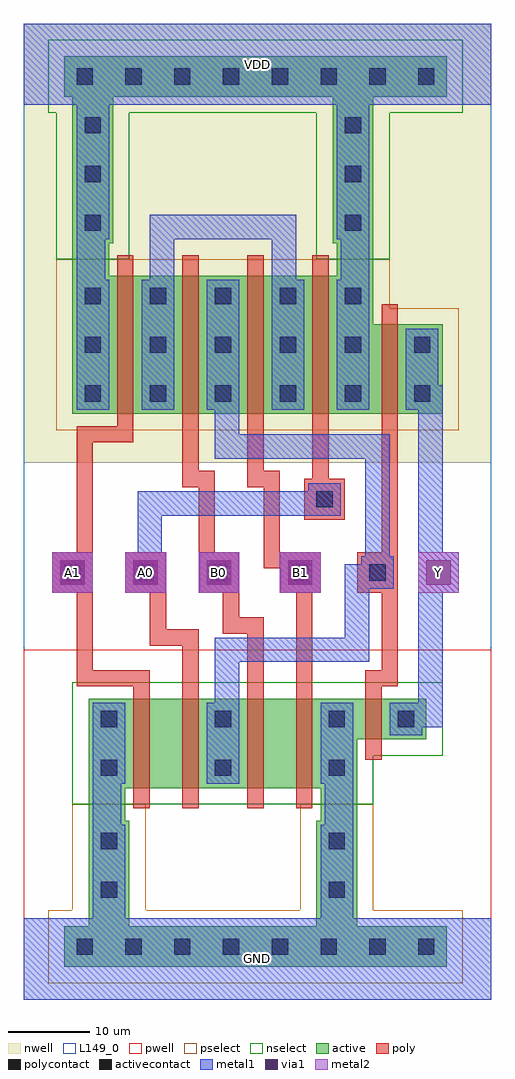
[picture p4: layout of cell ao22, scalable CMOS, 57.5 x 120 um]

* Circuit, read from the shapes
.subckt ao22 A0 A1 B0 B1 GND VDD Y
M1 n1 A1 GND GND nfet w=11u l=2u
M2 n2 A0 n1 GND nfet w=11u l=2u
M3 n3 B0 n2 GND nfet w=11u l=2u
M4 GND B1 n3 GND nfet w=11u l=2u
M5 Y n2 GND GND nfet w=5u l=2u
M6 n4 A1 VDD VDD pfet w=17u l=2u
M7 n2 B0 n4 VDD pfet w=17u l=2u
M8 n4 B1 n2 VDD pfet w=17u l=2u
M9 VDD A0 n4 VDD pfet w=17u l=2u
M10 Y n2 VDD VDD pfet w=11u l=2u
.ends

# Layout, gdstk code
import gdstk
lib = gdstk.Library(unit=1e-6, precision=1e-09)
def R(c, l, rs):  # rectangles x0, y0, x1, y1
    for r in rs: c.add(gdstk.rectangle(r[:2], r[2:], *l))
def A(c, l, x, y, w, h, nx, ny, dx, dy):  # array of equal rectangles
    R(c, l, [(x+i*dx, y+j*dy, x+i*dx+w, y+j*dy+h) for i in range(nx) for j in range(ny)])
def P(c, l, *ps):  # polygons
    for p in ps: c.add(gdstk.Polygon(p, *l))
pwell = (41, 0)
nwell = (42, 0)
active = (43, 0)
pselect = (44, 0)
nselect = (45, 0)
poly = (46, 0)
polycontact = (47, 0)
activecontact = (48, 0)
metal1 = (49, 0)
via1 = (50, 0)
metal2 = (51, 0)
L149_0 = (149, 0)

via = lib.new_cell('via')
R(via, metal1, [(-2.5,-2.5,2.5,2.5)])
R(via, via1, [(-1.5,-1.5,1.5,1.5)])
R(via, metal2, [(-2.5,-2.5,2.5,2.5)])

ao22 = lib.new_cell('ao22')
R(ao22, pwell, [(0,0,57.5,43)])
P(ao22, pwell, [(47,20),(47,26),(55.5,26),(55.5,43),(2,43),(2,20)])
R(ao22, nwell, [(0,66,57.5,120)])
P(ao22, nwell, [(57.5,66),(57.5,89),(49,89),(49,95),(0,95),(0,66)])
R(ao22, active, [(5,4,52,9), (8,9,13,22), (36,9,41,22), (8,22,12.5,26), (36.5,22,41,26), (8,26,13.5,37), (44,32,49.5,37), (6,72,11.5,89), (46,72,51.5,83), (6,89,10.5,93), (38.5,89,43,93), (6,93,11,111), (38,93,43,111), (5,111,52,116)])
P(ao22, active, [(51.5,72),(51.5,83),(43,83),(43,89),(6,89),(6,72)],
  [(41,26),(41,32),(49.5,32),(49.5,37),(8,37),(8,26)])
R(ao22, pselect, [(3,2,54,11), (6,11,15,24), (34,11,43,24)])
P(ao22, pselect, [(53.5,70),(53.5,85),(45,85),(45,91),(4,91),(4,70)])
R(ao22, nselect, [(4,91,13,109), (36,91,45,109), (3,109,54,118)])
P(ao22, nselect, [(43,24),(43,30),(51.5,30),(51.5,39),(6,39),(6,24)])
A(ao22, poly, 3.5, 50, 5, 5, 3, 1, 9, 0)
A(ao22, poly, 11.5, 69.5, 2, 2.5, 4, 2, 8, 19.5)
A(ao22, poly, 11.5, 72, 2, 17, 4, 1, 8, 0)
R(ao22, poly, [(13.5,23.5,15.5,26), (19.5,23.5,21.5,26), (27.5,23.5,29.5,26), (33.5,23.5,35.5,26), (13.5,26,15.5,37), (19.5,26,21.5,37), (27.5,26,29.5,37), (33.5,26,35.5,37), (42,29.5,44,32), (42,32,44,37), (13.5,37,15.5,39.5), (19.5,37,21.5,39.5), (27.5,37,29.5,39.5), (33.5,37,35.5,39.5), (42,37,44,39.5), (31.5,50,36.5,55), (41,50,46,55), (34.5,59,39.5,64), (44,69.5,46,72), (44,72,46,83), (44,83,46,85.5)])
A(ao22, polycontact, 5, 51.5, 2, 2, 3, 1, 9, 0)
R(ao22, polycontact, [(33,51.5,35,53.5), (42.5,51.5,44.5,53.5), (36,60.5,38,62.5)])
A(ao22, activecontact, 6.5, 5.5, 2, 2, 8, 2, 6, 107)
A(ao22, activecontact, 9.5, 27.5, 2, 2, 3, 2, 14, 6)
A(ao22, activecontact, 7.5, 73.5, 2, 2, 5, 3, 8, 6)
A(ao22, activecontact, 7.5, 94.5, 2, 2, 1, 3, 0, 6)
A(ao22, activecontact, 39.5, 94.5, 2, 2, 1, 3, 0, 6)
R(ao22, activecontact, [(9.5,12.5,11.5,14.5), (37.5,12.5,39.5,14.5), (9.5,18.5,11.5,20.5), (37.5,18.5,39.5,20.5), (46,33.5,48,35.5), (48,73.5,50,75.5), (48,79.5,50,81.5)])
A(ao22, metal1, 8.5, 26.5, 4, 10, 3, 1, 14, 0)
A(ao22, metal1, 4, 50.5, 4, 4, 3, 1, 9, 0)
A(ao22, metal1, 6.5, 72.5, 4, 16, 5, 1, 8, 0)
R(ao22, metal1, [(0,0,57.5,10), (0,0,57.5,10), (8.5,10,12.5,21.5), (36.5,10,40.5,21.5), (8.5,21.5,12,26.5), (37,21.5,40.5,26.5), (45,32.5,49,36.5), (32,50.5,36,54.5), (41.5,50.5,45.5,54.5), (35,59.5,39,63.5), (47,72.5,51,82.5), (6.5,88.5,10,93.5), (39,88.5,42.5,93.5), (6.5,93.5,10.5,110), (38.5,93.5,42.5,110), (0,110,57.5,120), (0,110,57.5,120)])
A(ao22, metal2, 3.5, 50, 5, 5, 3, 1, 9, 0)
R(ao22, metal2, [(31.5,50,36.5,55), (48.5,50,53.5,55)])
R(ao22, L149_0, [(0,0,57.5,120)])
ao22.add(gdstk.FlexPath([(20.5,69.5),(20.5,64),(22.5,64),(22.5,55)], 2, ends="flush", simple_path=True, layer=46, datatype=0))  # poly
ao22.add(gdstk.FlexPath([(45,69.5),(45,55)], 2, ends="flush", simple_path=True, layer=46, datatype=0))  # poly
ao22.add(gdstk.FlexPath([(28.5,69.5),(28.5,64),(30.5,64),(30.5,53)], 2, ends="flush", simple_path=True, layer=46, datatype=0))  # poly
ao22.add(gdstk.FlexPath([(28.5,39.5),(28.5,46),(25.5,46),(25.5,50)], 2, ends="flush", simple_path=True, layer=46, datatype=0))  # poly
ao22.add(gdstk.FlexPath([(34.5,39.5),(34.5,50)], 2, ends="flush", simple_path=True, layer=46, datatype=0))  # poly
ao22.add(gdstk.FlexPath([(15.5,39.5),(7.5,39.5),(7.5,50)], 2, ends="flush", simple_path=True, layer=46, datatype=0))  # poly
ao22.add(gdstk.FlexPath([(20.5,39.5),(20.5,44.5),(16.5,44.5),(16.5,50)], 2, ends="flush", simple_path=True, layer=46, datatype=0))  # poly
ao22.add(gdstk.FlexPath([(36.5,69.5),(36.5,64)], 2, ends="flush", simple_path=True, layer=46, datatype=0))  # poly
ao22.add(gdstk.FlexPath([(7.5,55),(7.5,69.5),(13.5,69.5)], 2, ends="flush", simple_path=True, layer=46, datatype=0))  # poly
ao22.add(gdstk.FlexPath([(45,50),(45,39.5),(42,39.5)], 2, ends="flush", simple_path=True, layer=46, datatype=0))  # poly
ao22.add(gdstk.FlexPath([(41,53.5),(41,43),(25,43),(25,36.5)], 3, ends="flush", simple_path=True, layer=49, datatype=0))  # metal1
ao22.add(gdstk.FlexPath([(32,88.5),(32,95),(17,95),(17,88.5)], 3, ends="flush", simple_path=True, layer=49, datatype=0))  # metal1
ao22.add(gdstk.FlexPath([(50,75.5),(50,33.5)], 3, ends="flush", simple_path=True, layer=49, datatype=0))  # metal1
ao22.add(gdstk.FlexPath([(25,72.5),(25,68),(43.5,68),(43.5,54.5)], 3, ends="flush", simple_path=True, layer=49, datatype=0))  # metal1
ao22.add(gdstk.FlexPath([(35.5,61),(15.5,61),(15.5,54.5)], 3, ends="flush", simple_path=True, layer=49, datatype=0))  # metal1
ao22.add(gdstk.Reference(via, (6,52.5)))
ao22.add(gdstk.Reference(via, (34,52.5)))
ao22.add(gdstk.Reference(via, (51,52.5)))
ao22.add(gdstk.Reference(via, (15,52.5)))
ao22.add(gdstk.Reference(via, (24,52.5)))
ao22.add(gdstk.Label('GND', (28.75,5), layer=2, texttype=0))
ao22.add(gdstk.Label('VDD', (28.75,115), layer=2, texttype=0))
ao22.add(gdstk.Label('A1', (6,52.5), layer=3, texttype=0))
ao22.add(gdstk.Label('Y', (51,52.5), layer=3, texttype=0))
ao22.add(gdstk.Label('B1', (34,52.5), layer=3, texttype=0))
ao22.add(gdstk.Label('A0', (15,52.5), layer=3, texttype=0))
ao22.add(gdstk.Label('B0', (24,52.5), layer=3, texttype=0))
ao22.add(gdstk.Label('A1', (6,52.5), layer=3, texttype=0))
ao22.add(gdstk.Label('GND', (28.75,5), layer=2, texttype=0))
ao22.add(gdstk.Label('VDD', (28.75,115), layer=2, texttype=0))
ao22.add(gdstk.Label('Y', (51,52.5), layer=3, texttype=0))
ao22.add(gdstk.Label('B1', (34,52.5), layer=3, texttype=0))
ao22.add(gdstk.Label('A0', (15,52.5), layer=3, texttype=0))
ao22.add(gdstk.Label('B0', (24,52.5), layer=3, texttype=0))

lib.write_gds('ao22.gds')
